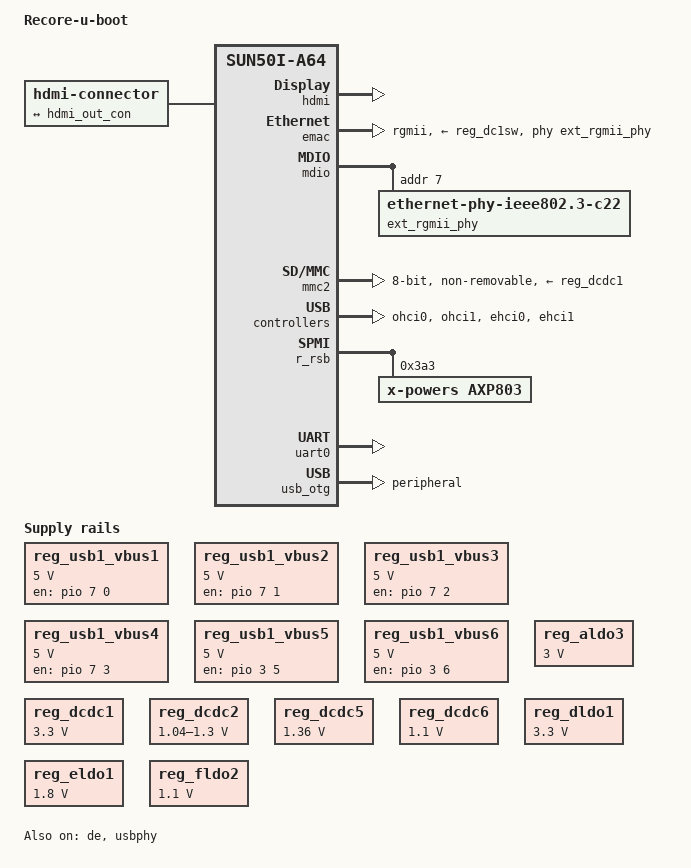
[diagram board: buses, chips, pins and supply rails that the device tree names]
// SPDX-License-Identifier: (GPL-2.0+ OR MIT)
// Copyright (c) 2016 ARM Ltd.

/dts-v1/;

#include "sun50i-a64.dtsi"
#include "sun50i-a64-cpu-opp.dtsi"

#include <dt-bindings/gpio/gpio.h>

/ {
	model = "Recore-u-boot";
	compatible = "recore", "allwinner,sun50i-a64";

	aliases {
		ethernet0 = &emac;
		serial0 = &uart0;
		serial1 = &uart1;
		serial2 = &uart2;
		serial3 = &uart3;
		serial4 = &uart4;
	};

	chosen {
		stdout-path = "serial0:115200n8";
	};

	hdmi-connector {
		compatible = "hdmi-connector";
		type = "a";

		port {
			hdmi_con_in: endpoint {
				remote-endpoint = <&hdmi_out_con>;
			};
		};
	};

	reg_usb1_vbus1: usb1-vbus1 {
		compatible = "regulator-fixed";
		regulator-name = "usb1-vbus1";
		gpio = <&pio 7 0 GPIO_ACTIVE_HIGH>; /* PH0 */
		regulator-min-microvolt = <5000000>;
		regulator-max-microvolt = <5000000>;
		regulator-always-on;
		regulator-boot-on;
		enable-active-high;
	};

	reg_usb1_vbus2: usb1-vbus2 {
		compatible = "regulator-fixed";
		regulator-name = "usb1-vbus2";
		gpio = <&pio 7 1 GPIO_ACTIVE_HIGH>; /* PH1 */
		regulator-min-microvolt = <5000000>;
		regulator-max-microvolt = <5000000>;
		regulator-always-on;
		regulator-boot-on;
		enable-active-high;
	};

	reg_usb1_vbus3: usb1-vbus3 {
		compatible = "regulator-fixed";
		regulator-name = "usb1-vbus3";
		gpio = <&pio 7 2 GPIO_ACTIVE_HIGH>; /* PH2 */
		regulator-min-microvolt = <5000000>;
		regulator-max-microvolt = <5000000>;
		regulator-always-on;
		regulator-boot-on;
		enable-active-high;
	};

	reg_usb1_vbus4: usb1-vbus4 {
		compatible = "regulator-fixed";
		regulator-name = "usb1-vbus4";
		gpio = <&pio 7 3 GPIO_ACTIVE_HIGH>; /* PH3 */
		regulator-min-microvolt = <5000000>;
		regulator-max-microvolt = <5000000>;
		regulator-always-on;
		regulator-boot-on;
		enable-active-high;
	};

	reg_usb1_vbus5: usb1-vbus5 {
		compatible = "regulator-fixed";
		regulator-name = "usb1-vbus5";
		gpio = <&pio 3 5 GPIO_ACTIVE_HIGH>; /* PD5 */
		regulator-min-microvolt = <5000000>;
		regulator-max-microvolt = <5000000>;
		regulator-always-on;
		regulator-boot-on;
		enable-active-high;
	};

	reg_usb1_vbus6: usb1-vbus6 {
		compatible = "regulator-fixed";
		regulator-name = "usb1-vbus6";
		gpio = <&pio 3 6 GPIO_ACTIVE_HIGH> ; /* PD6 */
		regulator-min-microvolt = <5000000>;
		regulator-max-microvolt = <5000000>;
		regulator-always-on;
		regulator-boot-on;
		enable-active-high;
	};
};

&de {
	status = "okay";
};

&hdmi {
	hvcc-supply = <&reg_dldo1>;
	status = "okay";
};

&hdmi_out {
	hdmi_out_con: endpoint {
		remote-endpoint = <&hdmi_con_in>;
	};
};

&emac {
	pinctrl-names = "default";
	pinctrl-0 = <&rgmii_pins>;
	phy-mode = "rgmii";
	phy-handle = <&ext_rgmii_phy>;
	phy-supply = <&reg_dc1sw>;
	status = "okay";
};

&mdio {
	ext_rgmii_phy: ethernet-phy@1 {
		compatible = "ethernet-phy-ieee802.3-c22";
		reg = <7>;
	};
};

&mmc2 {
	pinctrl-names = "default";
  pinctrl-0 = <&mmc2_pins>, <&mmc2_ds_pin>;
	vmmc-supply = <&reg_dcdc1>;
  vqmmc-supply = <&reg_eldo1>;
  non-removable;
  cap-mmc-hw-reset;
	bus-width = <8>;
	status = "okay";
  mmc-hs200-1_8v;
  max-frequency = <100000000>;
};

&ohci0 {
	status = "okay";
};

&ohci1 {
  status = "okay";
};

&ehci0 {
	status = "okay";
};

&ehci1 {
	status = "okay";
};

&r_rsb {
	status = "okay";

	axp803: pmic@3a3 {
		compatible = "x-powers,axp803";
		reg = <0x3a3>;
		interrupt-parent = <&r_intc>;
		interrupts = <0 IRQ_TYPE_LEVEL_LOW>;
	};
};

#include "axp803.dtsi"

&reg_aldo3 {
	regulator-always-on;
	regulator-min-microvolt = <3000000>;
	regulator-max-microvolt = <3000000>;
	regulator-name = "vcc-pll-avcc";
};

&reg_dc1sw {
  regulator-always-on;
	regulator-name = "vcc-phy";
};

&reg_dcdc1 {
	regulator-always-on;
	regulator-min-microvolt = <3300000>;
	regulator-max-microvolt = <3300000>;
	regulator-name = "vcc-3v3";
};

&reg_dcdc2 {
	regulator-always-on;
	regulator-min-microvolt = <1040000>;
	regulator-max-microvolt = <1300000>;
	regulator-name = "vdd-cpux";
};

&reg_dcdc5 {
	regulator-always-on;
	regulator-min-microvolt = <1360000>;
	regulator-max-microvolt = <1360000>;
	regulator-name = "vcc-dram";
};

&reg_dcdc6 {
	regulator-always-on;
	regulator-min-microvolt = <1100000>;
	regulator-max-microvolt = <1100000>;
	regulator-name = "vdd-sys";
};

&reg_dldo1 {
	regulator-min-microvolt = <3300000>;
	regulator-max-microvolt = <3300000>;
	regulator-name = "vcc-hdmi";
};

&reg_eldo1 {
  regulator-always-on;
	regulator-min-microvolt = <1800000>;
	regulator-max-microvolt = <1800000>;
	regulator-name = "cpvdd";
};

&reg_fldo2 {
	regulator-always-on;
	regulator-min-microvolt = <1100000>;
	regulator-max-microvolt = <1100000>;
	regulator-name = "vdd-cpus";
};

&reg_rtc_ldo {
	regulator-name = "vcc-rtc";
};

&simplefb_hdmi {
	vcc-hdmi-supply = <&reg_dldo1>;
};

&spdif {
	status = "disabled";
};

&uart0 {
	pinctrl-names = "default";
	pinctrl-0 = <&uart0_pb_pins>;
	status = "okay";
};

&usb_otg {
  dr_mode = "peripheral";
  vcc-supply = <&reg_dcdc1>;
	status = "okay";
};

&usb_power_supply {
	status = "okay";
};

&usbphy {
	usb0_vbus_power-supply = <&usb_power_supply>;
  vcc-supply = <&reg_dcdc1>;
	status = "okay";
};
